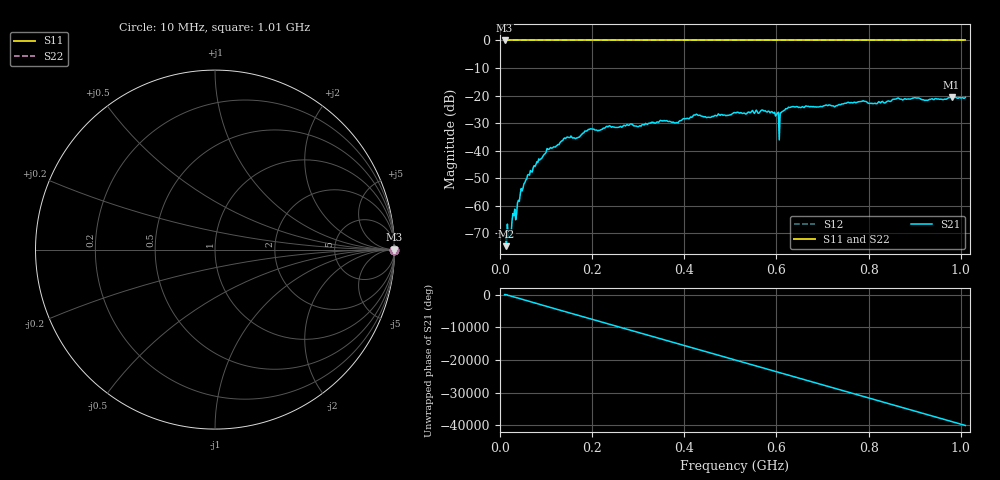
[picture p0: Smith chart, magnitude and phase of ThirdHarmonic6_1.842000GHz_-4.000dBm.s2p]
! 8/16/2025 10:17:40 PM
! C:\ANRITSUVNA\TEMP\TEMP.S2P
! CHANNEL.1
! TR.MEASUREMENT
! RAW.DATA
! RF.CORRECTION.OFF
! AVERAGING.OFF
! IF.BANDWIDTH: 5KHZ
! SWEEPTYPE:  FREQ.SWEEP(Linear)
! Reference Plane Port Info
! PORT:  PORT1  PORT2
! DISTANCE:  0  m  0  m
! TIME:  0  s  0  s
! PHASE.OFFSET:  0  deg.  0  deg.
! LOSS:  0  dB  0  dB
! REF.LOSS:  0  dB  0  dB
! REF.FREQ:  0  Hz  0  Hz
! Power Info
! POWER:  -20  dBm  -20  dBm
! EFF.POWER:  -20  dBm  -20  dBm
! SOURCE.ATTEN:  0  dB  0  dB
! TEST.ATTEN:  0  dB  0  dB
# GHZ S RI R 50.0
! FREQ.GHZ  S11RE  S11IM  S21RE  S21IM  S12RE  S12IM  S22RE  S22IM
!; PortSelection: Port_12
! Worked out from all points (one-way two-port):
!   501 points, 10 MHz to 1.01 GHz, reference 50 ohm
!   highest |S21| = -20.48 dB at 980 MHz (marker M1); lowest = -74.6 dB at 14 MHz (marker M2)
!   lowest |S11| = 0.0 dB at 10 MHz (marker M3)
!   |S11| at or under -10 dB: nowhere
!   |S22| runs from 0.0 to 0.0 dB; largest |S21 - S12| = 1.1
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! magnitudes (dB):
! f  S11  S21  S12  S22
! 10 MHz  0.0  -70.7  0.0  0.0
! 14 MHz  0.0  -74.6  0.0  0.0
! 22 MHz  0.0  -71.1  0.0  0.0
! 28 MHz  0.0  -62.8  0.0  0.0
! 38 MHz  0.0  -58.9  0.0  0.0
! 48 MHz  0.0  -54.6  0.0  0.0
! 76 MHz  0.0  -45.7  0.0  0.0
! 106 MHz  0.0  -39.5  0.0  0.0
! 142 MHz  0.0  -35.6  0.0  0.0
! 178 MHz  0.0  -33.9  0.0  0.0
! 196 MHz  0.0  -32.1  0.0  0.0
! 344 MHz  0.0  -29.7  0.0  0.0
! 382 MHz  0.0  -29.9  0.0  0.0
! 510 MHz  0.0  -26.2  0.0  0.0
! 572 MHz  0.0  -25.5  0.0  0.0
! 600 MHz  0.0  -26.8  0.0  0.0
! 602 MHz  0.0  -26.4  0.0  0.0
! 624 MHz  0.0  -24.6  0.0  0.0
! 678 MHz  0.0  -24.0  0.0  0.0
! 844 MHz  0.0  -22.0  0.0  0.0
! 980 MHz  0.0  -20.5  0.0  0.0
! 1.01 GHz  0.0  -20.7  0.0  0.0
